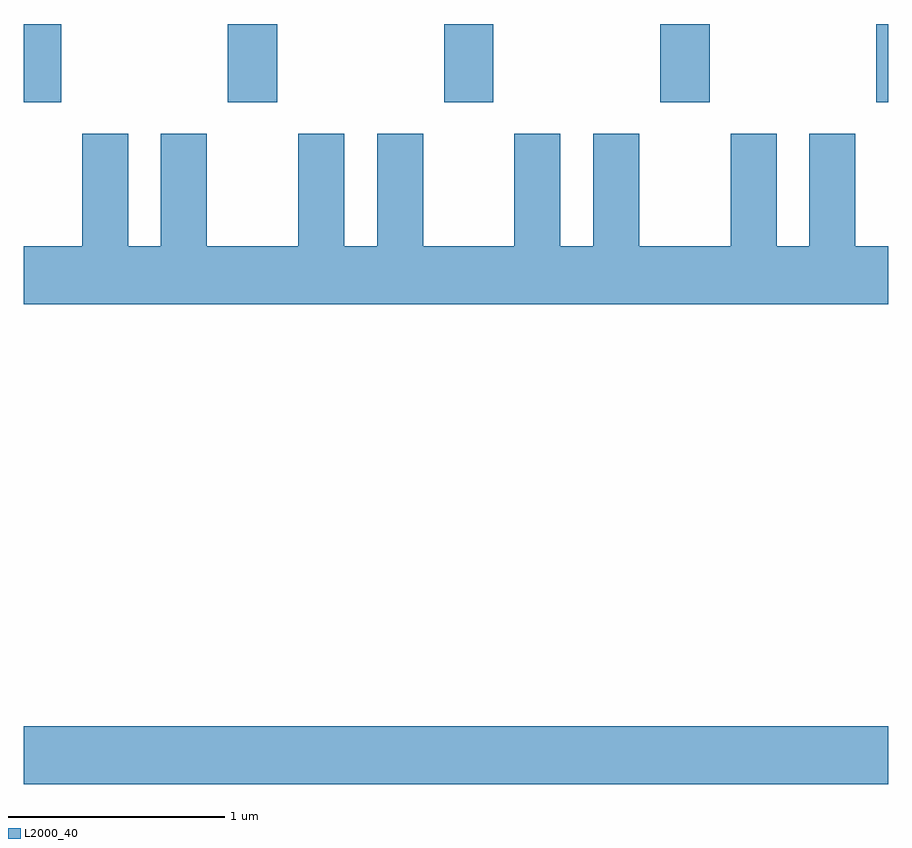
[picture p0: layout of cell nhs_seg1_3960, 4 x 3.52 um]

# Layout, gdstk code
import gdstk
lib = gdstk.Library(unit=1e-6, precision=1e-09)
def R(c, l, rs):  # rectangles x0, y0, x1, y1
    for r in rs: c.add(gdstk.rectangle(r[:2], r[2:], *l))
def A(c, l, x, y, w, h, nx, ny, dx, dy):  # array of equal rectangles
    R(c, l, [(x+i*dx, y+j*dy, x+i*dx+w, y+j*dy+h) for i in range(nx) for j in range(ny)])
def P(c, l, *ps):  # polygons
    for p in ps: c.add(gdstk.Polygon(p, *l))
L2000_40 = (2000, 40)

nhs_seg1_3960 = lib.new_cell('nhs_seg1_3960')
A(nhs_seg1_3960, L2000_40, 304.556, 949.351, 0.228, 0.361, 3, 1, 1, 0)
R(nhs_seg1_3960, L2000_40, [(303.611,946.196,307.611,946.464), (303.611,949.351,303.784,949.712), (307.556,949.351,307.611,949.712)])
P(nhs_seg1_3960, L2000_40, [(307.611,948.684),(307.459,948.684),(307.459,949.204),(307.246,949.204),(307.246,948.684),(307.094,948.684),(307.094,949.204),(306.881,949.204),(306.881,948.684),(306.459,948.684),(306.459,949.204),(306.246,949.204),(306.246,948.684),(306.094,948.684),(306.094,949.204),(305.881,949.204),(305.881,948.684),(305.459,948.684),(305.459,949.204),(305.246,949.204),(305.246,948.684),(305.094,948.684),(305.094,949.204),(304.881,949.204),(304.881,948.684),(304.459,948.684),(304.459,949.204),(304.246,949.204),(304.246,948.684),(304.094,948.684),(304.094,949.204),(303.881,949.204),(303.881,948.684),(303.611,948.684),(303.611,948.416),(307.611,948.416)])

lib.write_gds('nhs_seg1_3960.gds')
